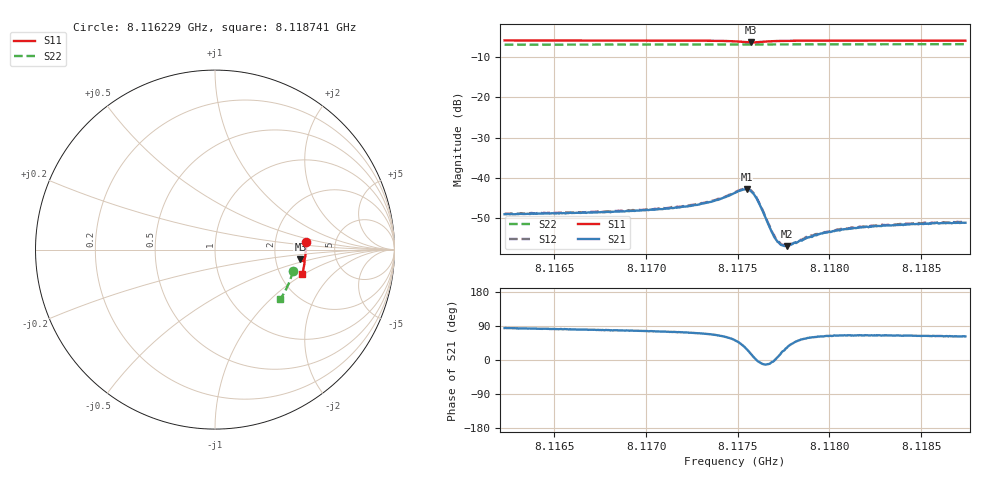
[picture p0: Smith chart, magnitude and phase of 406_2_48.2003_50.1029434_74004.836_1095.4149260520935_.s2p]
#  HZ  S  RI  R  50.00
! Rohde & Schwarz Vector Network Analyzer
! Rohde-Schwarz,ZNB20-2Port,1311601062101988,3.16
! Created: UTC 3/20/2024, 11:54:14 AM
! freq[Hz]  re:S11  im:S11  re:S21  im:S21  re:S12  im:S12  re:S22  im:S22
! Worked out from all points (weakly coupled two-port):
!   401 points, 8.116229 GHz to 8.118741 GHz, reference 50 ohm
!   highest |S21| = -42.85 dB at 8.117548 GHz (marker M1); lowest = -57.0 dB at 8.117768 GHz (marker M2)
!   lowest |S11| = -6.4 dB at 8.117573 GHz (marker M3), VSWR 2.84, Z = 139 - j19.6 ohm
!   |S11| at or under -10 dB: nowhere
!   |S22| runs from -6.9 to -6.8 dB; largest |S21 - S12| = 0.00019
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8.1162287e9  0.5054 0.0413  0.000357 0.00351  0.000386 0.00358  0.434 -0.1166
8.1166496e9  0.5064 0.00939  0.000624 0.00363  0.00067 0.00365  0.4266 -0.1449
8.1170705e9  0.5049 -0.0234  0.00104 0.00396  0.00108 0.00402  0.4173 -0.1728
8.1172338e9  0.5032 -0.0371  0.00139 0.00426  0.00145 0.00431  0.4132 -0.1835
8.117328e9  0.5013 -0.0457  0.00175 0.00458  0.00182 0.00466  0.4104 -0.1896
8.1174034e9  0.4983 -0.0533  0.00238 0.00492  0.00248 0.00496  0.4084 -0.1945
8.117485e9  0.4905 -0.0615  0.00402 0.00512  0.00412 0.00521  0.4058 -0.1998
8.1175227e9  0.4837 -0.0626  0.00539 0.0046  0.00553 0.00461  0.4044 -0.202
8.1175479e9  0.4786 -0.0602  0.00629 0.00351  0.0064 0.00352  0.4034 -0.2035
8.117573e9  0.4758 -0.0545  0.00655 0.0018  0.00674 0.0018  0.4027 -0.2046
8.1175918e9  0.4772 -0.0497  0.00606 0.000545  0.00621 0.000511  0.4022 -0.2053
8.1176107e9  0.4806 -0.0465  0.00512 -0.000324  0.00525 -0.000359  0.402 -0.2066
8.1176735e9  0.4927 -0.0489  0.00241 -0.000432  0.00251 -0.000424  0.4008 -0.2105
8.1177049e9  0.4957 -0.0527  0.00177 3.98e-05  0.00181 1.52e-05  0.3999 -0.2127
8.1177363e9  0.4973 -0.0565  0.0014 0.000463  0.00143 0.000423  0.399 -0.2147
8.1177677e9  0.4982 -0.0603  0.0012 0.000755  0.00124 0.000804  0.398 -0.2168
8.1179059e9  0.4987 -0.074  0.000922 0.0016  0.000969 0.00167  0.3938 -0.2256
8.1179624e9  0.4982 -0.079  0.000957 0.00181  0.000969 0.00182  0.3919 -0.2292
8.1180755e9  0.4969 -0.0885  0.000975 0.00207  0.00103 0.0021  0.3882 -0.236
8.118132e9  0.4961 -0.0929  0.00103 0.00215  0.00104 0.00217  0.3862 -0.2396
8.1183268e9  0.493 -0.1081  0.00108 0.00232  0.00109 0.00235  0.3794 -0.2515
8.1187414e9  0.485 -0.1385  0.00129 0.00246  0.00135 0.00249  0.3634 -0.2758
